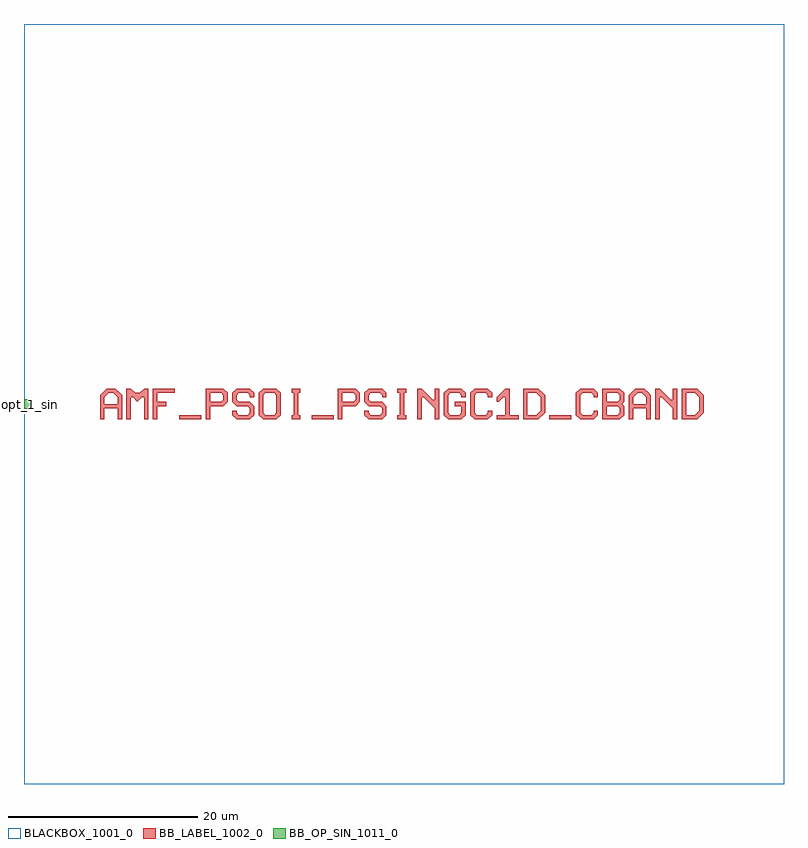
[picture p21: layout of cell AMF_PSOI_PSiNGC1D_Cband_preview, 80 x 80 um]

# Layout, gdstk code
import gdstk
lib = gdstk.Library(unit=1e-6, precision=1e-09)
def R(c, l, rs):  # rectangles x0, y0, x1, y1
    for r in rs: c.add(gdstk.rectangle(r[:2], r[2:], *l))
def P(c, l, *ps):  # polygons
    for p in ps: c.add(gdstk.Polygon(p, *l))
BLACKBOX_1001_0 = (1001, 0)
BB_LABEL_1002_0 = (1002, 0)
BB_OP_SIN_1011_0 = (1011, 0)

amf_psoi_psingc1d_cband_ = lib.new_cell('AMF_PSOI_PSiNGC1D_Cband_preview')
R(amf_psoi_psingc1d_cband_, BLACKBOX_1001_0, [(0,-40,80,40)])
R(amf_psoi_psingc1d_cband_, BB_LABEL_1002_0, [(16.349,-1.623,18.668,-1.159), (30.264,-1.623,32.583,-1.159), (55.311,-1.623,57.63,-1.159)])
P(amf_psoi_psingc1d_cband_, BB_LABEL_1002_0, [(8,-1.623),(8,0.928),(8.696,1.624),(9.623,1.624),(10.087,1.16),(8.928,1.16),(8.464,0.696),(8.464,0),(9.855,0),(9.855,0.696),(9.391,1.16),(10.087,1.16),(10.319,0.928),(10.319,-1.623),(9.855,-1.623),(9.855,-0.463),(8.464,-0.463),(8.464,-1.623)],
  [(10.783,-1.623),(10.783,1.624),(11.247,1.624),(11.711,1.16),(12.174,1.16),(12.638,1.624),(13.102,1.624),(13.102,-1.623),(12.638,-1.623),(12.638,0.696),(12.406,0.696),(11.943,0.232),(11.479,0.696),(11.247,0.696),(11.247,-1.623)],
  [(13.566,-1.623),(13.566,1.624),(15.885,1.624),(15.885,1.16),(14.03,1.16),(14.03,0.232),(14.957,0.232),(14.957,-0.232),(14.03,-0.232),(14.03,-1.623)],
  [(19.132,-1.623),(19.132,1.624),(20.987,1.624),(21.451,1.16),(21.451,0.232),(20.987,-0.232),(19.596,-0.232),(19.596,0.232),(20.755,0.232),(20.987,0.464),(20.987,0.928),(20.755,1.16),(19.596,1.16),(19.596,-1.623)],
  [(22.379,-1.623),(21.915,-1.159),(21.915,-0.695),(22.379,-0.695),(22.379,-0.927),(22.611,-1.159),(23.538,-1.159),(23.77,-0.927),(23.77,-0.463),(23.538,-0.232),(22.379,-0.232),(21.915,0.232),(21.915,1.16),(22.379,1.624),(23.77,1.624),(24.234,1.16),(24.234,0.696),(23.77,0.696),(23.77,0.928),(23.538,1.16),(22.611,1.16),(22.379,0.928),(22.379,0.464),(22.611,0.232),(23.77,0.232),(24.234,-0.232),(24.234,-1.159),(23.77,-1.623)],
  [(25.162,-1.623),(24.698,-1.159),(24.698,1.16),(25.162,1.624),(26.553,1.624),(27.017,1.16),(27.017,0),(26.553,0),(26.553,0.928),(26.321,1.16),(25.394,1.16),(25.162,0.928),(25.162,-0.927),(25.394,-1.159),(26.321,-1.159),(26.553,-0.927),(26.553,0),(27.017,0),(27.017,-1.159),(26.553,-1.623)],
  [(28.177,-1.623),(28.177,-1.159),(28.409,-1.159),(28.409,1.16),(28.177,1.16),(28.177,1.624),(29.104,1.624),(29.104,1.16),(28.872,1.16),(28.872,-1.159),(29.104,-1.159),(29.104,-1.623)],
  [(33.047,-1.623),(33.047,1.624),(34.902,1.624),(35.366,1.16),(35.366,0.232),(34.902,-0.232),(33.511,-0.232),(33.511,0.232),(34.67,0.232),(34.902,0.464),(34.902,0.928),(34.67,1.16),(33.511,1.16),(33.511,-1.623)],
  [(36.294,-1.623),(35.83,-1.159),(35.83,-0.695),(36.294,-0.695),(36.294,-0.927),(36.526,-1.159),(37.453,-1.159),(37.685,-0.927),(37.685,-0.463),(37.453,-0.232),(36.294,-0.232),(35.83,0.232),(35.83,1.16),(36.294,1.624),(37.685,1.624),(38.149,1.16),(38.149,0.696),(37.685,0.696),(37.685,0.928),(37.453,1.16),(36.526,1.16),(36.294,0.928),(36.294,0.464),(36.526,0.232),(37.685,0.232),(38.149,-0.232),(38.149,-1.159),(37.685,-1.623)],
  [(39.309,-1.623),(39.309,-1.159),(39.541,-1.159),(39.541,1.16),(39.309,1.16),(39.309,1.624),(40.236,1.624),(40.236,1.16),(40.004,1.16),(40.004,-1.159),(40.236,-1.159),(40.236,-1.623)],
  [(41.396,-1.623),(41.396,1.624),(41.86,1.624),(43.019,0.464),(43.251,0.464),(43.251,1.624),(43.715,1.624),(43.715,-1.623),(43.251,-1.623),(43.251,-0.463),(42.092,0.696),(41.86,0.696),(41.86,-1.623)],
  [(44.643,-1.623),(44.179,-1.159),(44.179,1.16),(44.643,1.624),(46.034,1.624),(46.498,1.16),(46.498,0.696),(46.034,0.696),(46.034,0.928),(45.802,1.16),(44.875,1.16),(44.643,0.928),(44.643,-0.927),(44.875,-1.159),(45.802,-1.159),(46.034,-0.927),(46.034,-0.232),(45.339,-0.232),(45.339,0.232),(46.498,0.232),(46.498,-1.159),(46.034,-1.623)],
  [(47.426,-1.623),(46.962,-1.159),(46.962,1.16),(47.426,1.624),(48.817,1.624),(49.281,1.16),(49.281,0.696),(48.817,0.696),(48.817,0.928),(48.585,1.16),(47.658,1.16),(47.426,0.928),(47.426,-0.927),(47.658,-1.159),(48.585,-1.159),(48.817,-0.927),(48.817,-0.695),(49.281,-0.695),(49.281,-1.159),(48.817,-1.623)],
  [(49.745,-1.623),(49.745,-1.159),(50.673,-1.159),(50.673,0.696),(50.441,0.696),(49.977,0.232),(49.745,0.232),(49.745,0.696),(50.673,1.624),(51.136,1.624),(51.136,-1.159),(52.064,-1.159),(52.064,-1.623)],
  [(52.528,-1.623),(52.528,1.624),(54.151,1.624),(54.615,1.16),(52.992,1.16),(52.992,-1.159),(53.919,-1.159),(54.383,-0.695),(54.383,0.696),(53.919,1.16),(54.615,1.16),(54.847,0.928),(54.847,-0.927),(54.151,-1.623)],
  [(58.558,-1.623),(58.094,-1.159),(58.094,1.16),(58.558,1.624),(59.949,1.624),(60.413,1.16),(60.413,0.696),(59.949,0.696),(59.949,0.928),(59.717,1.16),(58.79,1.16),(58.558,0.928),(58.558,-0.927),(58.79,-1.159),(59.717,-1.159),(59.949,-0.927),(59.949,-0.695),(60.413,-0.695),(60.413,-1.159),(59.949,-1.623)],
  [(60.877,-1.623),(60.877,1.624),(62.732,1.624),(63.196,1.16),(61.341,1.16),(61.341,0.232),(62.5,0.232),(62.732,0.464),(62.732,0.928),(62.5,1.16),(63.196,1.16),(63.196,0.232),(62.964,0),(63.196,-0.232),(61.341,-0.232),(61.341,-1.159),(62.5,-1.159),(62.732,-0.927),(62.732,-0.463),(62.5,-0.232),(63.196,-0.232),(63.196,-1.159),(62.732,-1.623)],
  [(63.66,-1.623),(63.66,0.928),(64.356,1.624),(65.283,1.624),(65.747,1.16),(64.588,1.16),(64.124,0.696),(64.124,0),(65.515,0),(65.515,0.696),(65.051,1.16),(65.747,1.16),(65.979,0.928),(65.979,-1.623),(65.515,-1.623),(65.515,-0.463),(64.124,-0.463),(64.124,-1.623)],
  [(66.443,-1.623),(66.443,1.624),(66.907,1.624),(68.066,0.464),(68.298,0.464),(68.298,1.624),(68.762,1.624),(68.762,-1.623),(68.298,-1.623),(68.298,-0.463),(67.139,0.696),(66.907,0.696),(66.907,-1.623)],
  [(69.226,-1.623),(69.226,1.624),(70.849,1.624),(71.313,1.16),(69.69,1.16),(69.69,-1.159),(70.617,-1.159),(71.081,-0.695),(71.081,0.696),(70.617,1.16),(71.313,1.16),(71.545,0.928),(71.545,-0.927),(70.849,-1.623)])
R(amf_psoi_psingc1d_cband_, BB_OP_SIN_1011_0, [(0,-0.5,1,0.5)])
amf_psoi_psingc1d_cband_.add(gdstk.Label('opt_1_sin', (0,0), layer=1011, texttype=0))

lib.write_gds('AMF_PSOI_PSiNGC1D_Cband_preview.gds')
